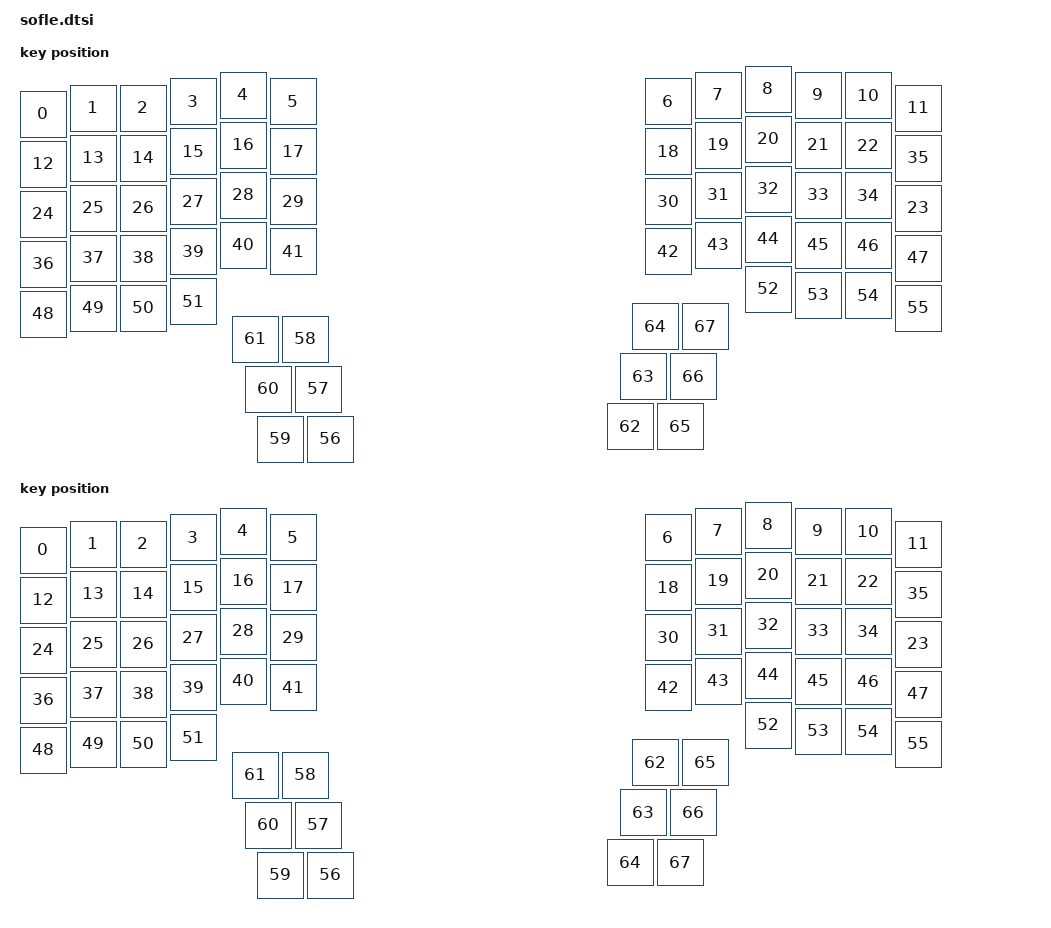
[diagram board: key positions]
#include <physical_layouts.dtsi>

/ {
    physical_layout0: physical_layout_0 {
        compatible = "zmk,physical-layout";
        display-name = "default_transform";

        kscan = <&kscan0>;
        transform = <&matrix_transform0>;

        keys  //                     w   h    x    y     rot    rx    ry
            = <&key_physical_attrs 100 100    0   50       0     0     0>
            , <&key_physical_attrs 100 100  100   38       0     0     0>
            , <&key_physical_attrs 100 100  200   38       0     0     0>
            , <&key_physical_attrs 100 100  300   25       0     0     0>
            , <&key_physical_attrs 100 100  400   12       0     0     0>
            , <&key_physical_attrs 100 100  500   25       0     0     0>
            , <&key_physical_attrs 100 100 1250   25       0     0     0>
            , <&key_physical_attrs 100 100 1350   12       0     0     0>
            , <&key_physical_attrs 100 100 1450    0       0     0     0>
            , <&key_physical_attrs 100 100 1550   12       0     0     0>
            , <&key_physical_attrs 100 100 1650   13       0     0     0>
            , <&key_physical_attrs 100 100 1750   38       0     0     0>
            , <&key_physical_attrs 100 100    0  150       0     0     0>
            , <&key_physical_attrs 100 100  100  138       0     0     0>
            , <&key_physical_attrs 100 100  200  138       0     0     0>
            , <&key_physical_attrs 100 100  300  125       0     0     0>
            , <&key_physical_attrs 100 100  400  112       0     0     0>
            , <&key_physical_attrs 100 100  500  125       0     0     0>
            , <&key_physical_attrs 100 100 1250  125       0     0     0>
            , <&key_physical_attrs 100 100 1350  112       0     0     0>
            , <&key_physical_attrs 100 100 1450  100       0     0     0>
            , <&key_physical_attrs 100 100 1550  112       0     0     0>
            , <&key_physical_attrs 100 100 1650  113       0     0     0>
            , <&key_physical_attrs 100 100 1750  238       0     0     0>
            , <&key_physical_attrs 100 100    0  250       0     0     0>
            , <&key_physical_attrs 100 100  100  238       0     0     0>
            , <&key_physical_attrs 100 100  200  238       0     0     0>
            , <&key_physical_attrs 100 100  300  225       0     0     0>
            , <&key_physical_attrs 100 100  400  212       0     0     0>
            , <&key_physical_attrs 100 100  500  225       0     0     0>
            , <&key_physical_attrs 100 100 1250  225       0     0     0>
            , <&key_physical_attrs 100 100 1350  212       0     0     0>
            , <&key_physical_attrs 100 100 1450  200       0     0     0>
            , <&key_physical_attrs 100 100 1550  212       0     0     0>
            , <&key_physical_attrs 100 100 1650  213       0     0     0>
            , <&key_physical_attrs 100 100 1750  138       0     0     0>
            , <&key_physical_attrs 100 100    0  350       0     0     0>
            , <&key_physical_attrs 100 100  100  338       0     0     0>
            , <&key_physical_attrs 100 100  200  338       0     0     0>
            , <&key_physical_attrs 100 100  300  325       0     0     0>
            , <&key_physical_attrs 100 100  400  312       0     0     0>
            , <&key_physical_attrs 100 100  500  325       0     0     0>
            , <&key_physical_attrs 100 100 1250  325       0     0     0>
            , <&key_physical_attrs 100 100 1350  312       0     0     0>
            , <&key_physical_attrs 100 100 1450  300       0     0     0>
            , <&key_physical_attrs 100 100 1550  312       0     0     0>
            , <&key_physical_attrs 100 100 1650  313       0     0     0>
            , <&key_physical_attrs 100 100 1750  338       0     0     0>
            , <&key_physical_attrs 100 100    0  450       0     0     0>
            , <&key_physical_attrs 100 100  100  438       0     0     0>
            , <&key_physical_attrs 100 100  200  438       0     0     0>
            , <&key_physical_attrs 100 100  300  425       0     0     0>
            , <&key_physical_attrs 100 100 1450  400       0     0     0>
            , <&key_physical_attrs 100 100 1550  412       0     0     0>
            , <&key_physical_attrs 100 100 1650  413       0     0     0>
            , <&key_physical_attrs 100 100 1750  438       0     0     0>
            , <&key_physical_attrs 100 100  575  700       0     0     0>
            , <&key_physical_attrs 100 100  550  600       0     0     0>
            , <&key_physical_attrs 100 100  525  500       0     0     0>
            , <&key_physical_attrs 100 100  475  700       0     0     0>
            , <&key_physical_attrs 100 100  450  600       0     0     0>
            , <&key_physical_attrs 100 100  425  500       0     0     0>
            , <&key_physical_attrs 100 100 1175  675       0     0     0>
            , <&key_physical_attrs 100 100 1200  575       0     0     0>
            , <&key_physical_attrs 100 100 1225  475       0     0     0>
            , <&key_physical_attrs 100 100 1275  675       0     0     0>
            , <&key_physical_attrs 100 100 1300  575       0     0     0>
            , <&key_physical_attrs 100 100 1325  475       0     0     0>
            ;
    };

    physical_layout1: physical_layout_1 {
        compatible = "zmk,physical-layout";
        display-name = "five_column_transform";

        kscan = <&kscan1>;
        transform = <&matrix_transform1>;

        keys  //                     w   h    x    y     rot    rx    ry
            = <&key_physical_attrs 100 100    0   50       0     0     0>
            , <&key_physical_attrs 100 100  100   38       0     0     0>
            , <&key_physical_attrs 100 100  200   38       0     0     0>
            , <&key_physical_attrs 100 100  300   25       0     0     0>
            , <&key_physical_attrs 100 100  400   12       0     0     0>
            , <&key_physical_attrs 100 100  500   25       0     0     0>
            , <&key_physical_attrs 100 100 1250   25       0     0     0>
            , <&key_physical_attrs 100 100 1350   12       0     0     0>
            , <&key_physical_attrs 100 100 1450    0       0     0     0>
            , <&key_physical_attrs 100 100 1550   12       0     0     0>
            , <&key_physical_attrs 100 100 1650   13       0     0     0>
            , <&key_physical_attrs 100 100 1750   38       0     0     0>
            , <&key_physical_attrs 100 100    0  150       0     0     0>
            , <&key_physical_attrs 100 100  100  138       0     0     0>
            , <&key_physical_attrs 100 100  200  138       0     0     0>
            , <&key_physical_attrs 100 100  300  125       0     0     0>
            , <&key_physical_attrs 100 100  400  112       0     0     0>
            , <&key_physical_attrs 100 100  500  125       0     0     0>
            , <&key_physical_attrs 100 100 1250  125       0     0     0>
            , <&key_physical_attrs 100 100 1350  112       0     0     0>
            , <&key_physical_attrs 100 100 1450  100       0     0     0>
            , <&key_physical_attrs 100 100 1550  112       0     0     0>
            , <&key_physical_attrs 100 100 1650  113       0     0     0>
            , <&key_physical_attrs 100 100 1750  238       0     0     0>
            , <&key_physical_attrs 100 100    0  250       0     0     0>
            , <&key_physical_attrs 100 100  100  238       0     0     0>
            , <&key_physical_attrs 100 100  200  238       0     0     0>
            , <&key_physical_attrs 100 100  300  225       0     0     0>
            , <&key_physical_attrs 100 100  400  212       0     0     0>
            , <&key_physical_attrs 100 100  500  225       0     0     0>
            , <&key_physical_attrs 100 100 1250  225       0     0     0>
            , <&key_physical_attrs 100 100 1350  212       0     0     0>
            , <&key_physical_attrs 100 100 1450  200       0     0     0>
            , <&key_physical_attrs 100 100 1550  212       0     0     0>
            , <&key_physical_attrs 100 100 1650  213       0     0     0>
            , <&key_physical_attrs 100 100 1750  138       0     0     0>
            , <&key_physical_attrs 100 100    0  350       0     0     0>
            , <&key_physical_attrs 100 100  100  338       0     0     0>
            , <&key_physical_attrs 100 100  200  338       0     0     0>
            , <&key_physical_attrs 100 100  300  325       0     0     0>
            , <&key_physical_attrs 100 100  400  312       0     0     0>
            , <&key_physical_attrs 100 100  500  325       0     0     0>
            , <&key_physical_attrs 100 100 1250  325       0     0     0>
            , <&key_physical_attrs 100 100 1350  312       0     0     0>
            , <&key_physical_attrs 100 100 1450  300       0     0     0>
            , <&key_physical_attrs 100 100 1550  312       0     0     0>
            , <&key_physical_attrs 100 100 1650  313       0     0     0>
            , <&key_physical_attrs 100 100 1750  338       0     0     0>
            , <&key_physical_attrs 100 100    0  450       0     0     0>
            , <&key_physical_attrs 100 100  100  438       0     0     0>
            , <&key_physical_attrs 100 100  200  438       0     0     0>
            , <&key_physical_attrs 100 100  300  425       0     0     0>
            , <&key_physical_attrs 100 100 1450  400       0     0     0>
            , <&key_physical_attrs 100 100 1550  412       0     0     0>
            , <&key_physical_attrs 100 100 1650  413       0     0     0>
            , <&key_physical_attrs 100 100 1750  438       0     0     0>
            , <&key_physical_attrs 100 100  575  700       0     0     0>
            , <&key_physical_attrs 100 100  550  600       0     0     0>
            , <&key_physical_attrs 100 100  525  500       0     0     0>
            , <&key_physical_attrs 100 100  475  700       0     0     0>
            , <&key_physical_attrs 100 100  450  600       0     0     0>
            , <&key_physical_attrs 100 100  425  500       0     0     0>
            , <&key_physical_attrs 100 100 1225  475       0     0     0>
            , <&key_physical_attrs 100 100 1200  575       0     0     0>
            , <&key_physical_attrs 100 100 1175  675       0     0     0>
            , <&key_physical_attrs 100 100 1325  475       0     0     0>
            , <&key_physical_attrs 100 100 1300  575       0     0     0>
            , <&key_physical_attrs 100 100 1275  675       0     0     0>
            ;
    };
};
